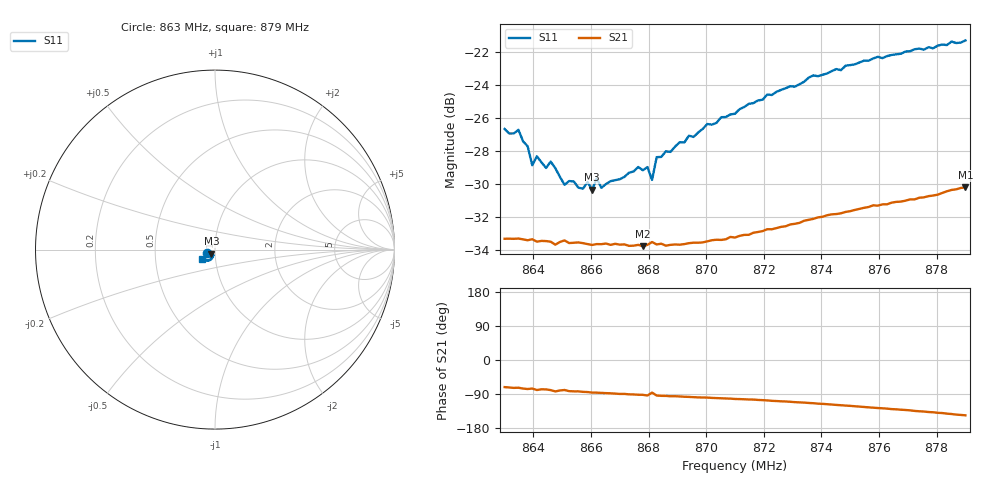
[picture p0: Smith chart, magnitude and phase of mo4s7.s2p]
# HZ S RI R 50
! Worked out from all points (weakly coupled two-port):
!   101 points, 863 MHz to 879 MHz, reference 50 ohm
!   highest |S21| = -30.20 dB at 879 MHz (marker M1); lowest = -33.7 dB at 867.8 MHz (marker M2)
!   lowest |S11| = -30.3 dB at 866.04 MHz (marker M3), VSWR 1.06, Z = 47.9 - j2.16 ohm
!   |S11| at or under -10 dB: start of sweep to end of sweep
!   S12 and S22 are empty: the file has one direction only
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8.63e8  -0.043 -0.0175  0.00685 -0.0205  0 0  0 0
8.6348e8  -0.0425 -0.0181  0.00629 -0.0207  0 0  0 0
8.638e8  -0.0367 -0.0186  0.00496 -0.0208  0 0  0 0
8.6396e8  -0.0324 -0.0159  0.00546 -0.0209  0 0  0 0
8.6412e8  -0.0339 -0.0181  0.00397 -0.0208  0 0  0 0
8.6444e8  -0.0307 -0.0177  0.00457 -0.0208  0 0  0 0
8.646e8  -0.0319 -0.0187  0.00388 -0.0208  0 0  0 0
8.6508e8  -0.0249 -0.0193  0.00403 -0.021  0 0  0 0
8.6572e8  -0.022 -0.0213  0.00218 -0.0209  0 0  0 0
8.6588e8  -0.0227 -0.0227  0.00198 -0.0207  0 0  0 0
8.6604e8  -0.0205 -0.0225  0.00144 -0.0207  0 0  0 0
8.662e8  -0.0222 -0.0243  0.00139 -0.0208  0 0  0 0
8.6636e8  -0.0198 -0.0236  0.00116 -0.0208  0 0  0 0
8.678e8  -0.0152 -0.0313  -0.000676 -0.0205  0 0  0 0
8.6796e8  -0.0153 -0.0322  -0.00134 -0.0207  0 0  0 0
8.6812e8  -0.00761 -0.0317  0.00145 -0.0211  0 0  0 0
8.6828e8  -0.0157 -0.0348  -0.00136 -0.0207  0 0  0 0
8.6844e8  -0.0141 -0.0355  -0.00168 -0.0208  0 0  0 0
8.71e8  -0.018 -0.0484  -0.00486 -0.0213  0 0  0 0
8.7372e8  -0.031 -0.0599  -0.0101 -0.0227  0 0  0 0
8.7644e8  -0.0508 -0.0589  -0.0177 -0.0214  0 0  0 0
8.79e8  -0.0699 -0.0501  -0.0256 -0.0173  0 0  0 0
